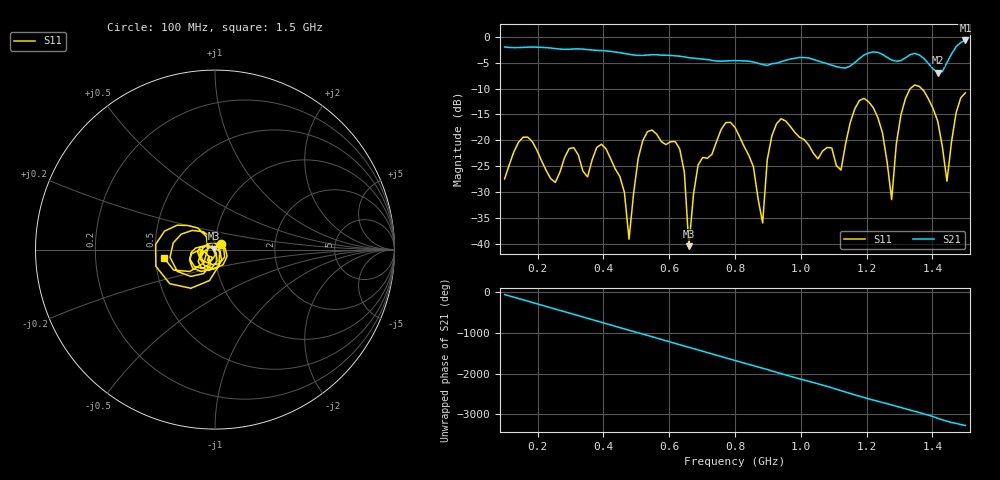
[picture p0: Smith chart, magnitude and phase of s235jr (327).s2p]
! NanoVNA-App
! Date: 2025-09-25 15:06:42
! Start: 100MHz Stop: 1,5GHz Points: 101
! S-Parameter data: F S11 S21 S12 S22
# Hz S RI R 50
!  Frequency  S11_Real  S11_Imag  S21_Real  S21_Imag  S12_Real  S12_Imag  S22_Real  S22_Imag
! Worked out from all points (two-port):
!   101 points, 100 MHz to 1.5 GHz, reference 50 ohm
!   highest |S21| = -0.70 dB at 1.5 GHz (marker M1); lowest = -6.9 dB at 1.416 GHz (marker M2)
!   |S21| within 3 dB of the highest: start of sweep to 623.9 MHz; 1.188 GHz to 1.256 GHz (67.44 MHz wide, 5.52 % of centre) (the widest 2 of 4)
!   lowest |S11| = -40.5 dB at 660 MHz (marker M3), VSWR 1.02, Z = 49.2 + j0.541 ohm
!   |S11| at or under -10 dB: start of sweep to 1.332 GHz; 1.367 GHz to end of sweep
!   S12 and S22 are empty: the file has one direction only
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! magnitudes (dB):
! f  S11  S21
! 100 MHz  -27.5  -2.0
! 156 MHz  -19.4  -2.0
! 338 MHz  -26.0  -2.4
! 408 MHz  -21.6  -2.7
! 478 MHz  -39.1  -3.4
! 520 MHz  -20.0  -3.6
! 576 MHz  -20.2  -3.5
! 632 MHz  -21.7  -3.7
! 660 MHz  -40.5  -4.0
! 688 MHz  -24.8  -4.2
! 800 MHz  -17.5  -4.6
! 884 MHz  -36.0  -5.4
! 926 MHz  -16.8  -5.1
! 1.038 GHz  -22.5  -4.4
! 1.122 GHz  -25.8  -6.0
! 1.192 GHz  -11.9  -3.5
! 1.248 GHz  -18.5  -3.4
! 1.276 GHz  -31.5  -4.5
! 1.332 GHz  -10.0  -3.4
! 1.416 GHz  -16.3  -6.9
! 1.444 GHz  -27.9  -5.0
! 1.5 GHz  -10.8  -0.7
